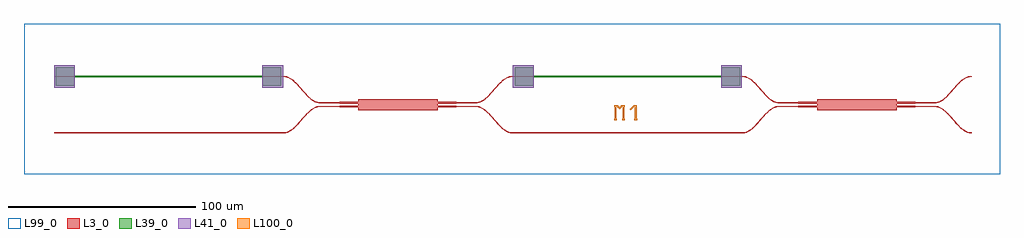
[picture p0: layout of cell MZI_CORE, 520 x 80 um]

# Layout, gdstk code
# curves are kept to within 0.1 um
import gdstk
lib = gdstk.Library(unit=1e-6, precision=1e-09)
def R(c, l, rs):  # rectangles x0, y0, x1, y1
    for r in rs: c.add(gdstk.rectangle(r[:2], r[2:], *l))
def P(c, l, *ps):  # polygons
    for p in ps: c.add(gdstk.Polygon(p, *l))
L3_0 = (3, 0)
L39_0 = (39, 0)
L41_0 = (41, 0)
L99_0 = (99, 0)
L100_0 = (100, 0)

wg0010 = lib.new_cell('WG0010')
R(wg0010, L3_0, [(0,-0.225,122,0.225)])

ps_m1_phi = lib.new_cell('PS_M1_phi')
R(ps_m1_phi, L39_0, [(1,-5,11,5), (111,-5,121,5), (1,-0.45,121,0.45)])
R(ps_m1_phi, L41_0, [(0,-6,11,6), (111,-6,122,6)])
ps_m1_phi.add(gdstk.Reference(wg0010, (0,0)))

ps_m1_theta = lib.new_cell('PS_M1_theta')
R(ps_m1_theta, L39_0, [(1,-5,11,5), (111,-5,121,5), (1,-0.45,121,0.45)])
R(ps_m1_theta, L41_0, [(0,-6,11,6), (111,-6,122,6)])
ps_m1_theta.add(gdstk.Reference(wg0010, (0,0)))

soi220nm_1550nm_te_strip = lib.new_cell('SOI220nm_1550nm_TE_STRIP_2x2_MMI_MMI_mmi_trace')
R(soi220nm_1550nm_te_strip, L3_0, [(0,-3,42.5,3)])

c_soi220nm_1550nm_te_strip = lib.new_cell('SOI220nm_1550nm_TE_STRIP_2x2_MMI_TRANSITION1')
P(c_soi220nm_1550nm_te_strip, L3_0, [(0,-1.765),(0,-0.265),(-20,-0.79),(-20,-1.24)])

c_soi220nm_1550nm_te_strip_ = lib.new_cell('SOI220nm_1550nm_TE_STRIP_2x2_MMI_TRANSITION2')
P(c_soi220nm_1550nm_te_strip_, L3_0, [(0,0.265),(0,1.765),(-20,1.24),(-20,0.79)])

c_soi220nm_1550nm_te_strip__ = lib.new_cell('SOI220nm_1550nm_TE_STRIP_2x2_MMI_TRANSITION3')
P(c_soi220nm_1550nm_te_strip__, L3_0, [(42.5,-0.265),(42.5,-1.765),(62.5,-1.24),(62.5,-0.79)])

c_soi220nm_1550nm_te_strip___ = lib.new_cell('SOI220nm_1550nm_TE_STRIP_2x2_MMI_TRANSITION4')
P(c_soi220nm_1550nm_te_strip___, L3_0, [(42.5,1.765),(42.5,0.265),(62.5,0.79),(62.5,1.24)])

c_soi220nm_1550nm_te_strip____ = lib.new_cell('SOI220nm_1550nm_TE_STRIP_2x2_MMI')
c_soi220nm_1550nm_te_strip____.add(gdstk.Reference(soi220nm_1550nm_te_strip, (0,0)))
c_soi220nm_1550nm_te_strip____.add(gdstk.Reference(c_soi220nm_1550nm_te_strip, (0,0)))
c_soi220nm_1550nm_te_strip____.add(gdstk.Reference(c_soi220nm_1550nm_te_strip_, (0,0)))
c_soi220nm_1550nm_te_strip____.add(gdstk.Reference(c_soi220nm_1550nm_te_strip__, (0,0)))
c_soi220nm_1550nm_te_strip____.add(gdstk.Reference(c_soi220nm_1550nm_te_strip___, (0,0)))

mmi_2_3532_4_1467 = lib.new_cell('MMI_2_3532_4_1467')
mmi_2_3532_4_1467.add(gdstk.Reference(c_soi220nm_1550nm_te_strip____, (0,0)))

wg0000 = lib.new_cell('WG0000')
R(wg0000, L3_0, [(0,-30.225,122,-29.775)])

wg0001 = lib.new_cell('WG0001')
P(wg0001, L3_0, [(122,-0.225),(123.41,-0.308),(124.324,-0.554),(125.709,-1.223),(127.108,-2.222),(128.046,-3.046),(129.461,-4.471),(134.689,-10.324),(136.127,-11.703),(137.574,-12.836),(139.034,-13.659),(140.017,-14.009),(141.005,-14.187),(142,-14.21),(142,-13.76),(140.59,-13.677),(139.676,-13.431),(138.291,-12.762),(136.892,-11.763),(135.954,-10.939),(134.539,-9.514),(129.311,-3.661),(127.873,-2.282),(126.426,-1.149),(124.966,-0.326),(123.49,0.136),(122,0.225)])

wg0002 = lib.new_cell('WG0002')
P(wg0002, L3_0, [(122,-30.225),(123.49,-30.136),(124.476,-29.87),(125.454,-29.437),(126.91,-28.505),(127.873,-27.718),(129.311,-26.339),(134.539,-20.486),(135.954,-19.061),(136.892,-18.237),(138.291,-17.238),(139.676,-16.569),(140.59,-16.323),(142,-16.24),(142,-15.79),(140.51,-15.879),(139.524,-16.145),(138.546,-16.578),(137.09,-17.51),(136.127,-18.297),(134.689,-19.676),(129.461,-25.529),(128.046,-26.954),(127.108,-27.778),(125.709,-28.777),(124.324,-29.446),(123.41,-29.692),(122,-29.775)])

wg0003 = lib.new_cell('WG0003')
P(wg0003, L3_0, [(224.5,-14.21),(225.99,-14.121),(226.976,-13.855),(227.954,-13.422),(229.41,-12.49),(230.373,-11.703),(231.811,-10.324),(237.039,-4.471),(238.454,-3.046),(239.392,-2.222),(240.791,-1.223),(242.176,-0.554),(243.09,-0.308),(244.5,-0.225),(244.5,0.225),(243.01,0.136),(242.024,-0.13),(241.046,-0.563),(239.59,-1.495),(238.627,-2.282),(237.189,-3.661),(231.961,-9.514),(230.546,-10.939),(229.608,-11.763),(228.209,-12.762),(226.824,-13.431),(225.91,-13.677),(224.5,-13.76)])

wg0004 = lib.new_cell('WG0004')
P(wg0004, L3_0, [(224.5,-16.24),(225.91,-16.323),(226.824,-16.569),(228.209,-17.238),(229.608,-18.237),(230.546,-19.061),(231.961,-20.486),(237.189,-26.339),(238.627,-27.718),(240.074,-28.851),(241.534,-29.674),(242.517,-30.024),(243.505,-30.202),(244.5,-30.225),(244.5,-29.775),(243.09,-29.692),(242.176,-29.446),(240.791,-28.777),(239.392,-27.778),(238.454,-26.954),(237.039,-25.529),(231.811,-19.676),(230.373,-18.297),(228.926,-17.164),(227.466,-16.341),(225.99,-15.879),(224.5,-15.79)])

wg0005 = lib.new_cell('WG0005')
R(wg0005, L3_0, [(244.5,-30.225,366.5,-29.775)])

wg0006 = lib.new_cell('WG0006')
P(wg0006, L3_0, [(366.5,-0.225),(367.91,-0.308),(368.824,-0.554),(370.209,-1.223),(371.608,-2.222),(372.546,-3.046),(373.961,-4.471),(379.189,-10.324),(380.627,-11.703),(382.074,-12.836),(383.534,-13.659),(384.517,-14.009),(385.505,-14.187),(386.5,-14.21),(386.5,-13.76),(385.09,-13.677),(384.176,-13.431),(382.791,-12.762),(381.392,-11.763),(380.454,-10.939),(379.039,-9.514),(373.811,-3.661),(372.373,-2.282),(370.926,-1.149),(369.466,-0.326),(367.99,0.136),(366.5,0.225)])

wg0007 = lib.new_cell('WG0007')
P(wg0007, L3_0, [(366.5,-30.225),(367.99,-30.136),(368.976,-29.87),(369.954,-29.437),(371.41,-28.505),(372.373,-27.718),(373.811,-26.339),(379.039,-20.486),(380.454,-19.061),(381.392,-18.237),(382.791,-17.238),(384.176,-16.569),(385.09,-16.323),(386.5,-16.24),(386.5,-15.79),(385.01,-15.879),(384.024,-16.145),(383.046,-16.578),(381.59,-17.51),(380.627,-18.297),(379.189,-19.676),(373.961,-25.529),(372.546,-26.954),(371.608,-27.778),(370.209,-28.777),(368.824,-29.446),(367.91,-29.692),(366.5,-29.775)])

wg0008 = lib.new_cell('WG0008')
P(wg0008, L3_0, [(469,-14.21),(470.49,-14.121),(471.476,-13.855),(472.454,-13.422),(473.91,-12.49),(474.873,-11.703),(476.311,-10.324),(481.539,-4.471),(482.954,-3.046),(483.892,-2.222),(485.291,-1.223),(486.676,-0.554),(487.59,-0.308),(489,-0.225),(489,0.225),(487.51,0.136),(486.524,-0.13),(485.546,-0.563),(484.09,-1.495),(483.127,-2.282),(481.689,-3.661),(476.461,-9.514),(475.046,-10.939),(474.108,-11.763),(472.709,-12.762),(471.324,-13.431),(470.41,-13.677),(469,-13.76)])

wg0009 = lib.new_cell('WG0009')
P(wg0009, L3_0, [(469,-16.24),(470.41,-16.323),(471.324,-16.569),(472.709,-17.238),(474.108,-18.237),(475.046,-19.061),(476.461,-20.486),(481.689,-26.339),(483.127,-27.718),(484.574,-28.851),(486.034,-29.674),(487.017,-30.024),(488.005,-30.202),(489,-30.225),(489,-29.775),(487.59,-29.692),(486.676,-29.446),(485.291,-28.777),(483.892,-27.778),(482.954,-26.954),(481.539,-25.529),(476.311,-19.676),(474.873,-18.297),(473.426,-17.164),(471.966,-16.341),(470.49,-15.879),(469,-15.79)])

mzi_m1 = lib.new_cell('MZI_M1')
R(mzi_m1, L100_0, [(298.373,-23.44,299.827,-22.56), (302.736,-23.44,304.191,-22.56), (309.209,-23.44,310.664,-22.56), (298.66,-23,299.54,-15.727), (303.024,-23,303.904,-15.727)])
P(mzi_m1, L100_0, [(298.373,-15.287),(300.228,-15.287),(301.282,-16.341),(302.336,-15.287),(304.191,-15.287),(304.191,-16.167),(302.7,-16.167),(301.282,-17.586),(299.863,-16.167),(298.373,-16.167)],
  [(306.716,-17.38),(308.809,-15.287),(310.376,-15.287),(310.376,-23),(309.496,-23),(309.496,-16.167),(309.173,-16.167),(307.338,-18.002)])
mzi_m1.add(gdstk.Reference(ps_m1_phi, (0,0)))
mzi_m1.add(gdstk.Reference(ps_m1_theta, (244.5,0)))
mzi_m1.add(gdstk.Reference(mmi_2_3532_4_1467, (162,-15)))
mzi_m1.add(gdstk.Reference(mmi_2_3532_4_1467, (406.5,-15)))
mzi_m1.add(gdstk.Reference(wg0000, (0,0)))
mzi_m1.add(gdstk.Reference(wg0001, (0,0)))
mzi_m1.add(gdstk.Reference(wg0002, (0,0)))
mzi_m1.add(gdstk.Reference(wg0003, (0,0)))
mzi_m1.add(gdstk.Reference(wg0004, (0,0)))
mzi_m1.add(gdstk.Reference(wg0005, (0,0)))
mzi_m1.add(gdstk.Reference(wg0006, (0,0)))
mzi_m1.add(gdstk.Reference(wg0007, (0,0)))
mzi_m1.add(gdstk.Reference(wg0008, (0,0)))
mzi_m1.add(gdstk.Reference(wg0009, (0,0)))

mzi_core = lib.new_cell('MZI_CORE')
R(mzi_core, L99_0, [(-16,-52,504,28)])
mzi_core.add(gdstk.Reference(mzi_m1, (0,0)))

lib.write_gds('MZI_CORE.gds')
